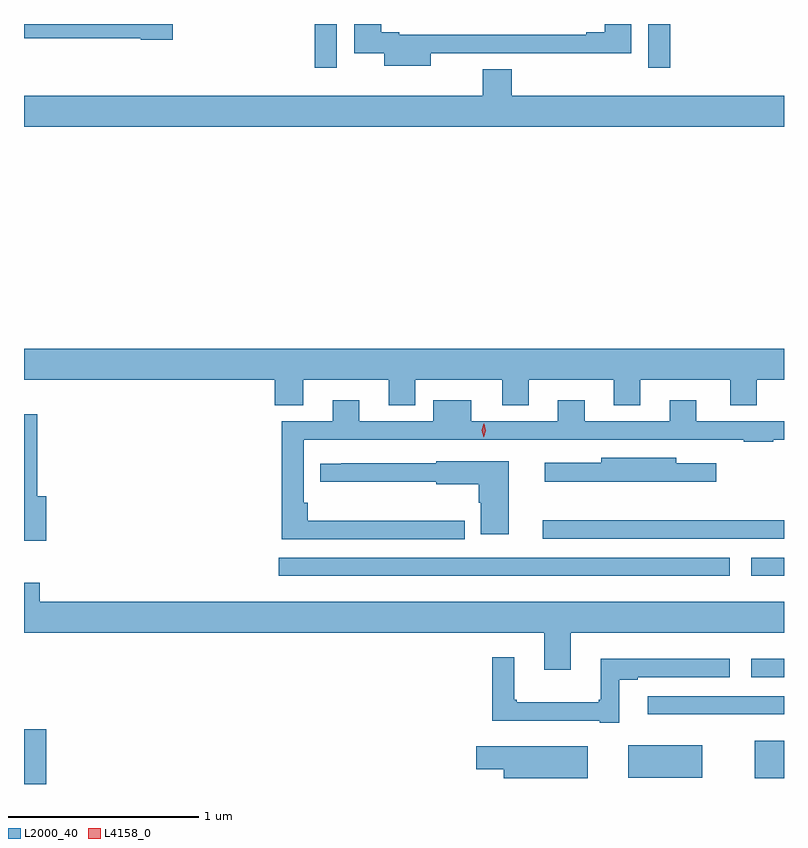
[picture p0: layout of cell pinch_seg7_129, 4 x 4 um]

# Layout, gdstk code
import gdstk
lib = gdstk.Library(unit=1e-6, precision=1e-09)
def R(c, l, rs):  # rectangles x0, y0, x1, y1
    for r in rs: c.add(gdstk.rectangle(r[:2], r[2:], *l))
def P(c, l, *ps):  # polygons
    for p in ps: c.add(gdstk.Polygon(p, *l))
L2000_40 = (2000, 40)
L4158_0 = (4158, 0)

pinch_seg7_129 = lib.new_cell('pinch_seg7_129')
R(pinch_seg7_129, L2000_40, [(911.319,1017.137,911.435,1017.424), (915.164,1017.167,915.319,1017.364), (914.498,1017.17,914.89,1017.34), (914.601,1017.503,915.319,1017.6), (915.147,1017.699,915.319,1017.796), (912.66,1018.232,915.034,1018.329), (915.147,1018.232,915.319,1018.329), (914.049,1018.428,915.319,1018.526), (912.85,1020.906,912.966,1021.137), (914.604,1020.906,914.72,1021.137)])
P(pinch_seg7_129, L2000_40, [(913.459,1020.984),(913.969,1020.984),(913.969,1020.982),(914.515,1020.982),(914.515,1021.137),(914.375,1021.137),(914.375,1021.093),(914.279,1021.093),(914.279,1021.08),(913.294,1021.08),(913.294,1021.093),(913.198,1021.093),(913.198,1021.137),(913.058,1021.137),(913.058,1020.982),(913.214,1020.982),(913.214,1020.917),(913.459,1020.917)],
  [(912.101,1021.137),(911.319,1021.137),(911.319,1021.062),(911.934,1021.062),(911.934,1021.054),(912.101,1021.054)],
  [(915.319,1020.76),(913.886,1020.76),(913.886,1020.899),(913.733,1020.899),(913.733,1020.76),(911.319,1020.76),(911.319,1020.596),(915.319,1020.596)],
  [(912.79,1019.264),(913.238,1019.264),(913.238,1019.131),(913.378,1019.131),(913.378,1019.264),(913.835,1019.264),(913.835,1019.131),(913.975,1019.131),(913.975,1019.264),(914.423,1019.264),(914.423,1019.131),(914.563,1019.131),(914.563,1019.264),(915.035,1019.264),(915.035,1019.131),(915.175,1019.131),(915.175,1019.264),(915.319,1019.264),(915.319,1019.428),(911.319,1019.428),(911.319,1019.264),(912.638,1019.264),(912.638,1019.131),(912.79,1019.131)],
  [(913.639,1018.523),(912.812,1018.523),(912.812,1018.618),(912.792,1018.618),(912.792,1018.95),(915.108,1018.95),(915.108,1018.938),(915.263,1018.938),(915.263,1018.95),(915.319,1018.95),(915.319,1019.046),(914.857,1019.046),(914.857,1019.158),(914.717,1019.158),(914.717,1019.046),(914.269,1019.046),(914.269,1019.158),(914.129,1019.158),(914.129,1019.046),(913.672,1019.046),(913.672,1019.158),(913.472,1019.158),(913.472,1019.046),(913.084,1019.046),(913.084,1019.158),(912.944,1019.158),(912.944,1019.046),(912.676,1019.046),(912.676,1018.425),(913.639,1018.425)],
  [(911.435,1018.651),(911.39,1018.651),(911.39,1019.083),(911.319,1019.083),(911.319,1018.418),(911.435,1018.418)],
  [(914.962,1018.824),(914.752,1018.824),(914.752,1018.855),(914.358,1018.855),(914.358,1018.828),(914.061,1018.828),(914.061,1018.727),(914.962,1018.727)],
  [(913.87,1018.837),(913.488,1018.837),(913.488,1018.824),(912.988,1018.824),(912.988,1018.823),(912.877,1018.823),(912.877,1018.727),(913.488,1018.727),(913.488,1018.715),(913.712,1018.715),(913.712,1018.618),(913.724,1018.618),(913.724,1018.452),(913.87,1018.452)],
  [(911.402,1018.195),(911.319,1018.195),(911.319,1017.932),(914.057,1017.932),(914.057,1017.738),(914.197,1017.738),(914.197,1017.932),(915.319,1017.932),(915.319,1018.096),(911.402,1018.096)],
  [(914.452,1017.687),(914.548,1017.687),(914.548,1017.699),(915.034,1017.699),(915.034,1017.796),(914.354,1017.796),(914.354,1017.58),(914.343,1017.58),(914.343,1017.568),(913.912,1017.568),(913.912,1017.58),(913.9,1017.58),(913.9,1017.805),(913.783,1017.805),(913.783,1017.47),(914.348,1017.47),(914.348,1017.459),(914.452,1017.459)],
  [(914.287,1017.337),(913.698,1017.337),(913.698,1017.215),(913.844,1017.215),(913.844,1017.167),(914.287,1017.167)])
P(pinch_seg7_129, L4158_0, [(913.738,1018.962),(913.738,1018.962),(913.729,1018.998),(913.74,1019.033),(913.741,1019.034),(913.741,1019.033),(913.749,1018.997),(913.738,1018.962)])

lib.write_gds('pinch_seg7_129.gds')
